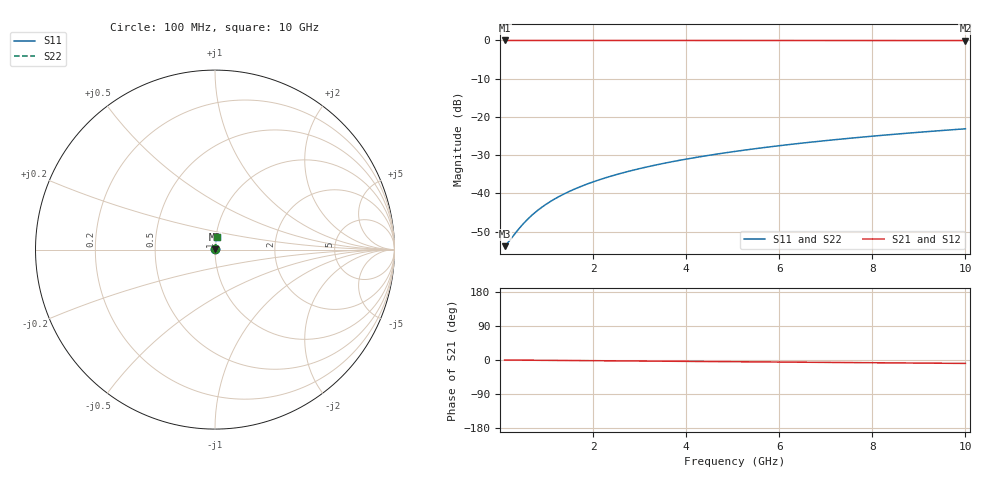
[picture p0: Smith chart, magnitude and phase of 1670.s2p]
# Hz S RI R 50.00
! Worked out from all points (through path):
!   100 points, 100 MHz to 10 GHz, reference 50 ohm
!   highest |S21| = -0.02 dB at 100 MHz (marker M1); lowest = 0.0 dB at 10 GHz (marker M2)
!   group delay of S21, straight-line fit = 2.5 ps
!   lowest |S11| = -53.8 dB at 100 MHz (marker M3), VSWR 1.00, Z = 50.2 + j0.0699 ohm
!   |S11| at or under -10 dB: start of sweep to end of sweep
!   |S22| runs from -53.8 to -23.1 dB; largest |S21 - S12| = 0
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1e8  0.00192 0.000697  0.9981 -0.00156  0.9981 -0.00156  0.00192 0.000697
2e8  0.00194 0.00139  0.9981 -0.00313  0.9981 -0.00313  0.00194 0.00139
4e8  0.00197 0.00279  0.998 -0.00625  0.998 -0.00625  0.00197 0.00279
5e8  0.00198 0.00348  0.998 -0.00782  0.998 -0.00782  0.00198 0.00348
6e8  0.002 0.00418  0.998 -0.00938  0.998 -0.00938  0.002 0.00418
7e8  0.00202 0.00488  0.998 -0.0109  0.998 -0.0109  0.00202 0.00488
8e8  0.00204 0.00557  0.9979 -0.0125  0.9979 -0.0125  0.00204 0.00557
1e9  0.00209 0.00697  0.9979 -0.0156  0.9979 -0.0156  0.00209 0.00697
1.2e9  0.00214 0.00836  0.9978 -0.0188  0.9978 -0.0188  0.00214 0.00836
1.5e9  0.00224 0.0104  0.9977 -0.0234  0.9977 -0.0234  0.00224 0.0104
1.8e9  0.00235 0.0125  0.9975 -0.0281  0.9975 -0.0281  0.00235 0.0125
2.1e9  0.00249 0.0146  0.9973 -0.0328  0.9973 -0.0328  0.00249 0.0146
2.5e9  0.0027 0.0174  0.997 -0.0391  0.997 -0.0391  0.0027 0.0174
2.9e9  0.00294 0.0202  0.9967 -0.0453  0.9967 -0.0453  0.00294 0.0202
3.4e9  0.0033 0.0236  0.9962 -0.0531  0.9962 -0.0531  0.0033 0.0236
4.2e9  0.00397 0.0292  0.9953 -0.0656  0.9953 -0.0656  0.00397 0.0292
5.1e9  0.0049 0.0354  0.9941 -0.0797  0.9941 -0.0797  0.0049 0.0354
5.9e9  0.00587 0.0409  0.9928 -0.0922  0.9928 -0.0922  0.00587 0.0409
6.7e9  0.00698 0.0464  0.9913 -0.1046  0.9913 -0.1046  0.00698 0.0464
7.5e9  0.00823 0.0518  0.9896 -0.1171  0.9896 -0.1171  0.00823 0.0518
8.4e9  0.0098 0.0579  0.9874 -0.131  0.9874 -0.131  0.0098 0.0579
1e10  0.013 0.0687  0.9831 -0.1558  0.9831 -0.1558  0.013 0.0687
